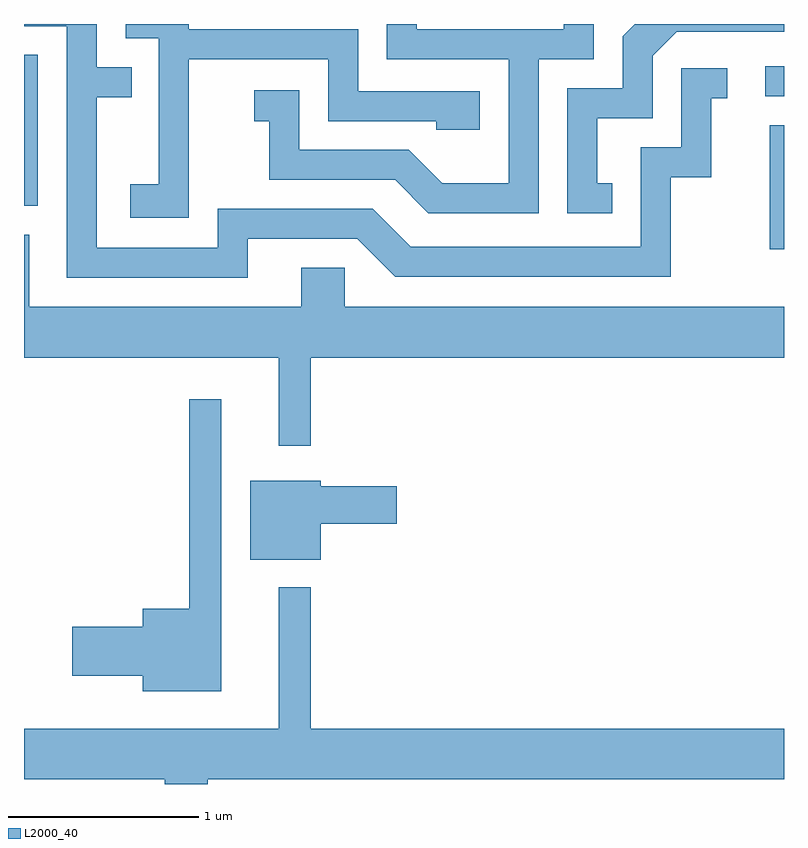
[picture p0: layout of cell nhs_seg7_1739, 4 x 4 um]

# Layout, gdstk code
import gdstk
lib = gdstk.Library(unit=1e-6, precision=1e-09)
def R(c, l, rs):  # rectangles x0, y0, x1, y1
    for r in rs: c.add(gdstk.rectangle(r[:2], r[2:], *l))
def P(c, l, *ps):  # polygons
    for p in ps: c.add(gdstk.Polygon(p, *l))
L2000_40 = (2000, 40)

nhs_seg7_1739 = lib.new_cell('nhs_seg7_1739')
R(nhs_seg7_1739, L2000_40, [(241.536,1757.066,241.611,1757.719), (237.611,1757.296,237.684,1758.089), (241.513,1757.871,241.611,1758.029)])
P(nhs_seg7_1739, L2000_40, [(240.319,1758.066),(240.609,1758.066),(240.609,1758.252),(240.451,1758.252),(240.451,1758.224),(239.679,1758.224),(239.679,1758.252),(239.521,1758.252),(239.521,1758.066),(240.161,1758.066),(240.161,1757.414),(239.812,1757.414),(239.637,1757.589),(239.059,1757.589),(239.059,1757.904),(238.823,1757.904),(238.823,1757.741),(238.901,1757.741),(238.901,1757.431),(239.564,1757.431),(239.739,1757.256),(240.319,1757.256)],
  [(238.479,1758.066),(239.211,1758.066),(239.211,1757.741),(239.781,1757.741),(239.781,1757.696),(240.009,1757.696),(240.009,1757.899),(239.369,1757.899),(239.369,1758.224),(238.479,1758.224),(238.479,1758.252),(238.146,1758.252),(238.146,1758.176),(238.321,1758.176),(238.321,1757.409),(238.171,1757.409),(238.171,1757.231),(238.479,1757.231)],
  [(240.708,1757.414),(240.629,1757.414),(240.629,1757.756),(240.919,1757.756),(240.919,1758.084),(241.047,1758.211),(241.611,1758.211),(241.611,1758.252),(240.826,1758.252),(240.761,1758.187),(240.761,1757.914),(240.471,1757.914),(240.471,1757.256),(240.708,1757.256)],
  [(238.789,1757.121),(239.364,1757.121),(239.564,1756.921),(241.014,1756.921),(241.014,1757.446),(241.229,1757.446),(241.229,1757.861),(241.313,1757.861),(241.313,1758.019),(241.071,1758.019),(241.071,1757.604),(240.856,1757.604),(240.856,1757.079),(239.647,1757.079),(239.447,1757.279),(238.631,1757.279),(238.631,1757.074),(237.994,1757.074),(237.994,1757.866),(238.178,1757.866),(238.178,1758.024),(237.994,1758.024),(237.994,1758.252),(237.611,1758.252),(237.611,1758.241),(237.836,1758.241),(237.836,1756.916),(238.789,1756.916)],
  [(239.119,1756.496),(241.611,1756.496),(241.611,1756.764),(239.299,1756.764),(239.299,1756.969),(239.071,1756.969),(239.071,1756.764),(237.639,1756.764),(237.639,1757.144),(237.611,1757.144),(237.611,1756.496),(238.951,1756.496),(238.951,1756.033),(239.119,1756.033)],
  [(238.649,1756.278),(238.481,1756.278),(238.481,1755.174),(238.236,1755.174),(238.236,1755.079),(237.866,1755.079),(237.866,1754.821),(238.236,1754.821),(238.236,1754.741),(238.649,1754.741)],
  [(239.174,1755.621),(239.574,1755.621),(239.574,1755.819),(239.174,1755.819),(239.174,1755.849),(238.801,1755.849),(238.801,1755.431),(239.174,1755.431)],
  [(238.579,1754.276),(241.611,1754.276),(241.611,1754.544),(239.119,1754.544),(239.119,1755.288),(238.951,1755.288),(238.951,1754.544),(237.611,1754.544),(237.611,1754.276),(238.351,1754.276),(238.351,1754.252),(238.579,1754.252)])

lib.write_gds('nhs_seg7_1739.gds')
